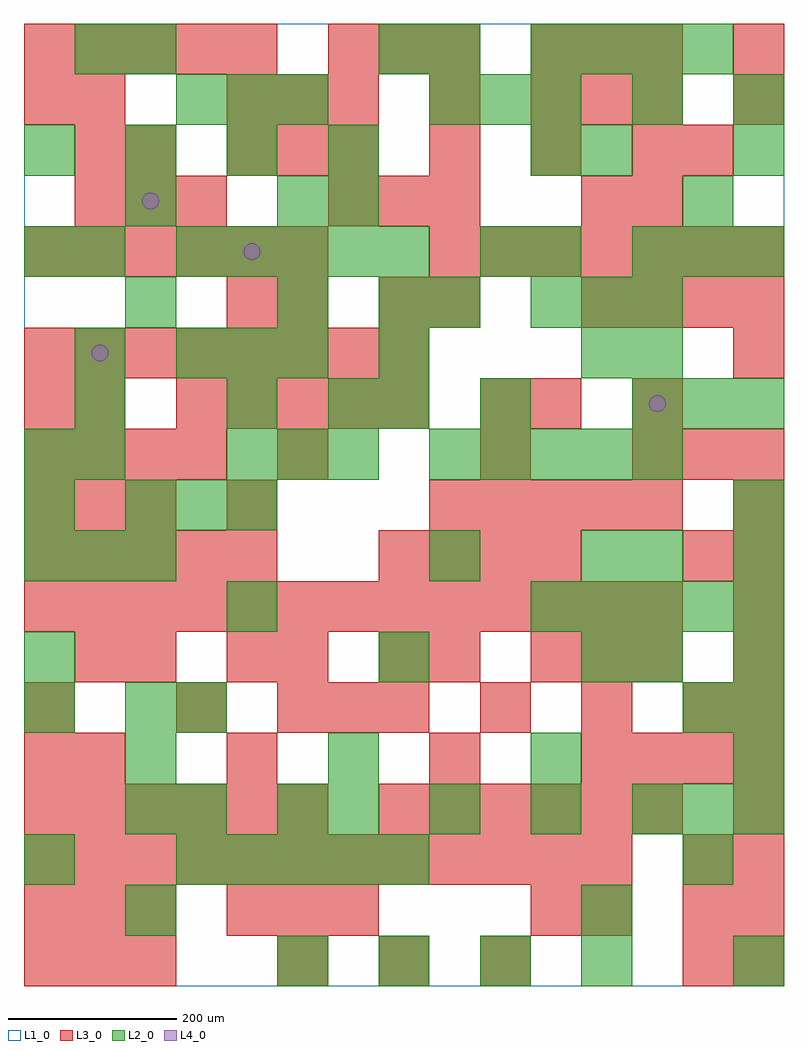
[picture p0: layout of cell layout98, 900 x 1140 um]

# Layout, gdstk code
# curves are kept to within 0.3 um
import gdstk
lib = gdstk.Library(unit=1e-6, precision=1e-09)
def R(c, l, rs):  # rectangles x0, y0, x1, y1
    for r in rs: c.add(gdstk.rectangle(r[:2], r[2:], *l))
def A(c, l, x, y, w, h, nx, ny, dx, dy):  # array of equal rectangles
    R(c, l, [(x+i*dx, y+j*dy, x+i*dx+w, y+j*dy+h) for i in range(nx) for j in range(ny)])
def P(c, l, *ps):  # polygons
    for p in ps: c.add(gdstk.Polygon(p, *l))
L1_0 = (1, 0)
L2_0 = (2, 0)
L3_0 = (3, 0)
L4_0 = (4, 0)

layout98 = lib.new_cell('layout98')
R(layout98, L1_0, [(0,0,900,1140)])
A(layout98, L2_0, 300, 0, 60, 60, 4, 1, 120, 0)
A(layout98, L2_0, 120, 60, 60, 60, 1, 3, 0, 120)
A(layout98, L2_0, 180, 120, 60, 60, 5, 2, 60, 720)
A(layout98, L2_0, 360, 180, 60, 60, 4, 1, 120, 0)
A(layout98, L2_0, 120, 240, 60, 60, 4, 1, 240, 0)
A(layout98, L2_0, 600, 420, 60, 60, 5, 1, 60, 0)
A(layout98, L2_0, 0, 480, 60, 60, 3, 1, 60, 0)
A(layout98, L2_0, 480, 480, 60, 60, 1, 3, 0, 300)
A(layout98, L2_0, 660, 480, 60, 60, 1, 3, 0, 240)
A(layout98, L2_0, 120, 540, 60, 60, 3, 1, 60, 0)
A(layout98, L2_0, 60, 600, 60, 60, 1, 3, 0, 60)
A(layout98, L2_0, 240, 600, 60, 60, 3, 1, 60, 0)
A(layout98, L2_0, 480, 600, 60, 60, 5, 1, 60, 0)
A(layout98, L2_0, 420, 660, 60, 60, 1, 3, 0, 60)
A(layout98, L2_0, 720, 660, 60, 60, 3, 2, 60, 180)
A(layout98, L2_0, 180, 720, 60, 60, 3, 2, 60, 300)
A(layout98, L2_0, 600, 780, 60, 60, 3, 1, 60, 0)
A(layout98, L2_0, 0, 960, 60, 60, 4, 1, 120, 0)
A(layout98, L2_0, 480, 1020, 60, 60, 3, 1, 60, 0)
A(layout98, L2_0, 600, 1080, 60, 60, 4, 1, 60, 0)
R(layout98, L2_0, [(840,0,900,60), (660,60,720,120), (0,120,60,180), (780,120,840,180), (180,180,240,240), (300,180,360,240), (780,180,840,240), (840,180,900,240), (0,300,60,360), (180,300,240,360), (780,300,840,360), (840,300,900,360), (0,360,60,420), (420,360,480,420), (660,360,720,420), (720,360,780,420), (840,360,900,420), (240,420,300,480), (720,480,780,540), (840,480,900,540), (0,540,60,600), (840,540,900,600), (0,600,60,660), (240,660,300,720), (360,660,420,720), (540,660,600,720), (720,720,780,780), (120,780,180,840), (300,780,360,840), (0,840,60,900), (60,840,120,900), (540,840,600,900), (600,840,660,900), (120,900,180,960), (300,900,360,960), (360,900,420,960), (780,900,840,960), (600,960,660,1020), (840,960,900,1020), (720,1020,780,1080), (840,1020,900,1080), (60,1080,120,1140), (120,1080,180,1140), (420,1080,480,1140)])
A(layout98, L3_0, 0, 0, 60, 60, 3, 2, 60, 60)
A(layout98, L3_0, 300, 0, 60, 60, 3, 1, 120, 0)
A(layout98, L3_0, 780, 0, 60, 60, 1, 3, 0, 60)
A(layout98, L3_0, 840, 0, 60, 60, 1, 4, 0, 60)
A(layout98, L3_0, 240, 60, 60, 60, 3, 2, 60, 900)
A(layout98, L3_0, 0, 120, 60, 60, 12, 1, 60, 0)
A(layout98, L3_0, 0, 180, 60, 60, 6, 2, 60, 660)
A(layout98, L3_0, 420, 180, 60, 60, 6, 1, 60, 0)
A(layout98, L3_0, 660, 240, 60, 60, 4, 2, 60, 540)
A(layout98, L3_0, 0, 300, 60, 60, 1, 3, 0, 360)
A(layout98, L3_0, 300, 300, 60, 60, 3, 1, 60, 0)
A(layout98, L3_0, 540, 300, 60, 60, 3, 1, 120, 0)
A(layout98, L3_0, 840, 300, 60, 60, 1, 5, 0, 60)
A(layout98, L3_0, 60, 360, 60, 60, 1, 3, 0, 300)
A(layout98, L3_0, 600, 360, 60, 60, 3, 2, 60, 660)
A(layout98, L3_0, 0, 420, 60, 60, 13, 1, 60, 0)
A(layout98, L3_0, 0, 480, 60, 60, 5, 2, 60, 600)
A(layout98, L3_0, 420, 480, 60, 60, 4, 1, 60, 0)
A(layout98, L3_0, 0, 540, 60, 60, 3, 1, 60, 0)
A(layout98, L3_0, 480, 540, 60, 60, 5, 1, 60, 0)
A(layout98, L3_0, 0, 600, 60, 60, 4, 1, 60, 0)
A(layout98, L3_0, 720, 600, 60, 60, 3, 1, 60, 0)
A(layout98, L3_0, 180, 660, 60, 60, 5, 1, 60, 0)
A(layout98, L3_0, 0, 720, 60, 60, 8, 1, 60, 0)
A(layout98, L3_0, 480, 840, 60, 60, 7, 1, 60, 0)
A(layout98, L3_0, 60, 900, 60, 60, 3, 1, 60, 0)
A(layout98, L3_0, 360, 900, 60, 60, 3, 2, 60, 180)
A(layout98, L3_0, 480, 960, 60, 60, 3, 1, 120, 0)
A(layout98, L3_0, 240, 1020, 60, 60, 3, 1, 60, 0)
A(layout98, L3_0, 600, 1080, 60, 60, 3, 1, 60, 0)
R(layout98, L3_0, [(600,60,660,120), (660,60,720,120), (0,240,60,300), (60,240,120,300), (240,240,300,300), (480,240,540,300), (180,300,240,360), (120,360,180,420), (240,360,300,420), (300,360,360,420), (420,360,480,420), (480,360,540,420), (780,480,840,540), (240,540,300,600), (300,600,360,660), (540,600,600,660), (540,660,600,720), (600,660,660,720), (720,660,780,720), (840,720,900,780), (240,780,300,840), (300,780,360,840), (420,780,480,840), (480,780,540,840), (660,900,720,960), (720,900,780,960), (120,960,180,1020), (780,960,840,1020), (60,1020,120,1080), (480,1020,540,1080), (840,1020,900,1080), (840,1080,900,1140)])
P(layout98, L4_0, [(100,750),(99.239,753.827),(97.071,757.071),(93.827,759.239),(90,760),(86.173,759.239),(82.929,757.071),(80.761,753.827),(80,750),(80.761,746.173),(82.929,742.929),(86.173,740.761),(90,740),(93.827,740.761),(97.071,742.929),(99.239,746.173)],
  [(160,930),(159.239,933.827),(157.071,937.071),(153.827,939.239),(150,940),(146.173,939.239),(142.929,937.071),(140.761,933.827),(140,930),(140.761,926.173),(142.929,922.929),(146.173,920.761),(150,920),(153.827,920.761),(157.071,922.929),(159.239,926.173)],
  [(280,870),(279.239,873.827),(277.071,877.071),(273.827,879.239),(270,880),(266.173,879.239),(262.929,877.071),(260.761,873.827),(260,870),(260.761,866.173),(262.929,862.929),(266.173,860.761),(270,860),(273.827,860.761),(277.071,862.929),(279.239,866.173)],
  [(760,690),(759.239,693.827),(757.071,697.071),(753.827,699.239),(750,700),(746.173,699.239),(742.929,697.071),(740.761,693.827),(740,690),(740.761,686.173),(742.929,682.929),(746.173,680.761),(750,680),(753.827,680.761),(757.071,682.929),(759.239,686.173)])

lib.write_gds('layout98.gds')
